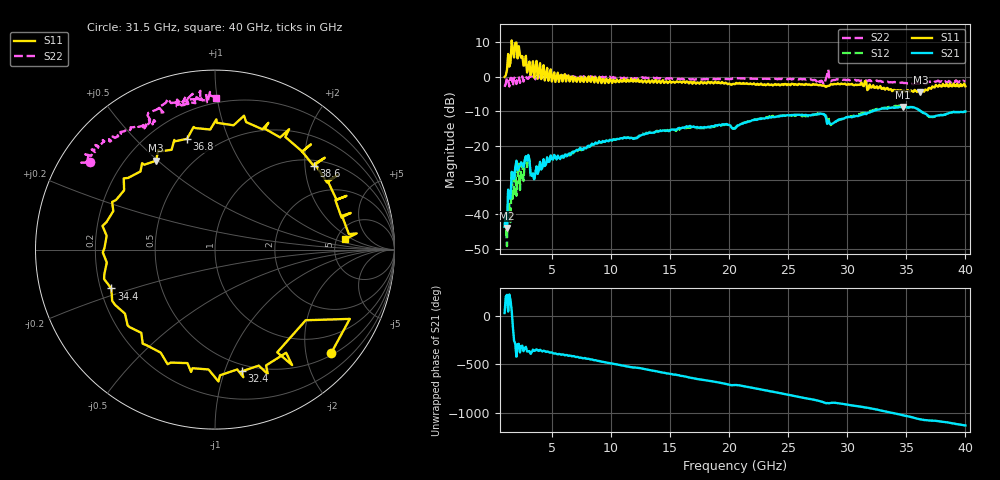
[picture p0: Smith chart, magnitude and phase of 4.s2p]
!Keysight Technologies,N5224A,MY55441802,A.10.65.16
!Date: Wednesday, May 13, 2026 19:16:53
!Correction: S11(Full 2 Port(1,2))
!S21(Full 2 Port(1,2))
!S12(Full 2 Port(1,2))
!S22(Full 2 Port(1,2))
!S2P File: Measurements: S11, S21, S12, S22:
# Hz S  dB  R 50
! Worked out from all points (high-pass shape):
!   391 points, 1 GHz to 40 GHz, reference 50 ohm
!   highest |S21| = -8.76 dB at 34.7 GHz (marker M1); lowest = -44.0 dB at 1.2 GHz (marker M2)
!   |S21| within 3 dB of the highest: 23.63 GHz to 28.18 GHz (4.552 GHz wide, 17.6 % of centre); 30.02 GHz to end of sweep (the widest 2 of 3)
!   lowest |S11| = -4.5 dB at 36.2 GHz (marker M3), VSWR 3.93, Z = 16.1 + j24.6 ohm
!   |S11| at or under -10 dB: nowhere
!   |S22| runs from -2.9 to 2.1 dB; largest |S21 - S12| = 0.06
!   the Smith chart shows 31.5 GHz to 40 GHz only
!   S11 on the Smith chart (normalised r, x): 31.5 GHz: 0.54, -2.52; 32.4 GHz: 0.44, -1.15; 34.4 GHz: 0.24, -0.17; 36.8 GHz: 0.35, +0.72; 38.6 GHz: 1.14, +2.22; 40 GHz: 5.98, +1.47
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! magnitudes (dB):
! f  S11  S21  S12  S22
! 1 GHz  0.0  -43.6  -42.8  -2.9
! 1.2 GHz  2.0  -44.0  -49.3  -0.2
! 1.3 GHz  6.6  -32.8  -32.7  -0.9
! 1.5 GHz  4.1  -35.4  -42.3  -0.3
! 1.6 GHz  10.6  -27.7  -27.6  -0.4
! 1.7 GHz  7.6  -27.9  -35.4  -2.6
! 1.9 GHz  9.9  -26.6  -26.3  0.1
! 2 GHz  10.0  -24.4  -34.6  -2.1
! 2.8 GHz  6.1  -23.1  -23.2  0.2
! 7.5 GHz  -0.1  -21.0  -21.4  0.0
! 14 GHz  -1.4  -15.9  -16.0  -0.5
! 20.5 GHz  -2.1  -15.1  -14.9  -0.4
! 27 GHz  -2.4  -11.1  -11.1  -0.9
! 31.5 GHz  -1.2  -10.6  -10.4  -1.4
! 32.4 GHz  -3.2  -9.8  -9.5  -1.3
! 33.5 GHz  -3.8  -9.1  -8.8  -1.6
! 34.4 GHz  -4.2  -8.8  -8.3  -1.8
! 34.7 GHz  -4.3  -8.8  -8.4  -1.7
! 36.2 GHz  -4.5  -9.9  -10.0  -1.8
! 36.8 GHz  -3.9  -11.2  -11.3  -1.6
! 38.6 GHz  -2.8  -10.6  -10.5  -1.2
! 40 GHz  -2.8  -10.1  -10.1  -1.4
